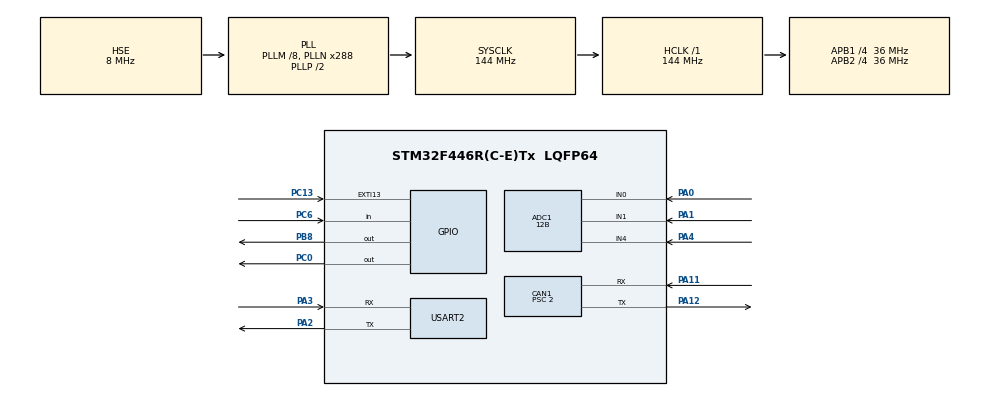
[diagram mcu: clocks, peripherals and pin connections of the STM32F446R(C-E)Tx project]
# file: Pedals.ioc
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ADC1.Channel-0\#ChannelRegularConversion=ADC_CHANNEL_0
ADC1.Channel-1\#ChannelRegularConversion=ADC_CHANNEL_1
ADC1.Channel-2\#ChannelRegularConversion=ADC_CHANNEL_4
ADC1.ClockPrescaler=ADC_CLOCK_SYNC_PCLK_DIV2
ADC1.ContinuousConvMode=ENABLE
ADC1.DMAContinuousRequests=ENABLE
ADC1.DataAlign=ADC_DATAALIGN_RIGHT
ADC1.DiscontinuousConvMode=DISABLE
ADC1.EOCSelection=ADC_EOC_SINGLE_CONV
ADC1.EnableAnalogWatchDog=false
ADC1.ExternalTrigConv=ADC_SOFTWARE_START
ADC1.ExternalTrigConvEdge=ADC_EXTERNALTRIGCONVEDGE_NONE
ADC1.InjNumberOfConversion=0
ADC1.NbrOfConversion=3
ADC1.NbrOfConversionFlag=1
ADC1.Rank-0\#ChannelRegularConversion=1
ADC1.Rank-1\#ChannelRegularConversion=2
ADC1.Rank-2\#ChannelRegularConversion=3
ADC1.Resolution=ADC_RESOLUTION_12B
ADC1.SamplingTime-0\#ChannelRegularConversion=ADC_SAMPLETIME_480CYCLES
ADC1.SamplingTime-1\#ChannelRegularConversion=ADC_SAMPLETIME_480CYCLES
ADC1.SamplingTime-2\#ChannelRegularConversion=ADC_SAMPLETIME_480CYCLES
ADC1.ScanConvMode=ENABLE
ADC1.master=1
CAN1.AWUM=ENABLE
CAN1.AutoWakeUp=ENABLE
CAN1.BS1=CAN_BS1_12TQ
CAN1.BS2=CAN_BS2_5TQ
CAN1.CalculateTimeBit=1000
CAN1.CalculateTimeQuantum=55.55555555555556
CAN1.Prescaler=2
CAN1.TimeSeg1=CAN_BS1_12TQ
CAN1.TimeSeg2=CAN_BS2_5TQ
Dma.ADC1.0.Direction=DMA_PERIPH_TO_MEMORY
Dma.ADC1.0.FIFOMode=DMA_FIFOMODE_DISABLE
Dma.ADC1.0.Instance=DMA2_Stream0
Dma.ADC1.0.MemDataAlignment=DMA_MDATAALIGN_WORD
Dma.ADC1.0.MemInc=DMA_MINC_ENABLE
Dma.ADC1.0.Mode=DMA_CIRCULAR
Dma.ADC1.0.PeriphDataAlignment=DMA_PDATAALIGN_WORD
Dma.ADC1.0.PeriphInc=DMA_PINC_DISABLE
Dma.ADC1.0.Priority=DMA_PRIORITY_LOW
Dma.Request0=ADC1
Mcu.Family=STM32F4
Mcu.Name=STM32F446R(C-E)Tx
Mcu.Package=LQFP64
NVIC.ADC_IRQn=true\:0\:0\:false\:true\:true\:1\:true
NVIC.CAN1_RX0_IRQn=true\:0\:0\:false\:true\:true\:3\:true
NVIC.CAN1_RX1_IRQn=true\:0\:0\:false\:true\:true\:4\:true
NVIC.CAN1_SCE_IRQn=true\:0\:0\:false\:true\:true\:5\:true
NVIC.CAN1_TX_IRQn=true\:0\:0\:false\:true\:true\:2\:true
NVIC.DMA2_Stream0_IRQn=true\:0\:0\:false\:false\:true\:false
NVIC.EXTI15_10_IRQn=true\:0\:0\:false\:false\:true\:true
NVIC.PriorityGroup=NVIC_PRIORITYGROUP_4
NVIC.TIM3_IRQn=true\:0\:0\:false\:true\:true\:6\:true
PA0-WKUP.Signal=ADCx_IN0
PA1.Signal=ADCx_IN1
PA11.GPIO_PuPd=GPIO_PULLUP
PA11.Mode=Master
PA11.Signal=CAN1_RX
PA12.Mode=Master
PA12.Signal=CAN1_TX
PA2.Mode=Asynchronous
PA2.Signal=USART2_TX
PA3.Mode=Asynchronous
PA3.Signal=USART2_RX
PA4.Signal=ADCx_IN4
PB8.Signal=GPIO_Output
PC0.Signal=GPIO_Output
PC13.Signal=GPXTI13
PC6.GPIO_PuPd=GPIO_PULLUP
PC6.Signal=GPIO_Input
PH0-OSC_IN.Mode=HSE-External-Clock-Source
PH0-OSC_IN.Signal=RCC_OSC_IN
PH1-OSC_OUT.Mode=HSE-External-Clock-Source
PH1-OSC_OUT.Signal=RCC_OSC_OUT
ProjectManager.HeapSize=0x200
ProjectManager.StackSize=0x400
ProjectManager.TargetToolchain=SW4STM32
RCC.AHBFreq_Value=144000000
RCC.APB1CLKDivider=RCC_HCLK_DIV4
RCC.APB1Freq_Value=36000000
RCC.APB1TimFreq_Value=72000000
RCC.APB2CLKDivider=RCC_HCLK_DIV4
RCC.APB2Freq_Value=36000000
RCC.APB2TimFreq_Value=72000000
RCC.CortexFreq_Value=144000000
RCC.HCLKFreq_Value=144000000
RCC.HSE_VALUE=8000000
RCC.PLLM=8
RCC.PLLN=288
RCC.PLLSourceVirtual=RCC_PLLSOURCE_HSE
RCC.SYSCLKFreq_VALUE=144000000
RCC.SYSCLKSource=RCC_SYSCLKSOURCE_PLLCLK
RCC.USBFreq_Value=144000000
RCC.VCOOutputFreq_Value=288000000
SH.ADCx_IN0.0=ADC1_IN0,IN0
SH.ADCx_IN1.0=ADC1_IN1,IN1
SH.ADCx_IN4.0=ADC1_IN4,IN4
TIM3.Period=1000
TIM3.Prescaler=42666
USART2.VirtualMode=VM_ASYNC
VP_TIM3_VS_ClockSourceINT.Mode=Internal
board=Pedals

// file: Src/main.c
/**
  ******************************************************************************
  * @file           : main.c
  * @brief          : Main program body
  ******************************************************************************
  ** This notice applies to any and all portions of this file
  * that are not between comment pairs USER CODE BEGIN and
  * USER CODE END. Other portions of this file, whether
  * inserted by the user or by software development tools
  * are owned by their respective copyright owners.
  *
  * COPYRIGHT(c) 2018 STMicroelectronics
  *
  * Redistribution and use in source and binary forms, with or without modification,
  * are permitted provided that the following conditions are met:
  *   1. Redistributions of source code must retain the above copyright notice,
  *      this list of conditions and the following disclaimer.
  *   2. Redistributions in binary form must reproduce the above copyright notice,
  *      this list of conditions and the following disclaimer in the documentation
  *      and/or other materials provided with the distribution.
  *   3. Neither the name of STMicroelectronics nor the names of its contributors
  *      may be used to endorse or promote products derived from this software
  *      without specific prior written permission.
  *
  * THIS SOFTWARE IS PROVIDED BY THE COPYRIGHT HOLDERS AND CONTRIBUTORS "AS IS"
  * AND ANY EXPRESS OR IMPLIED WARRANTIES, INCLUDING, BUT NOT LIMITED TO, THE
  * IMPLIED WARRANTIES OF MERCHANTABILITY AND FITNESS FOR A PARTICULAR PURPOSE ARE
  * DISCLAIMED. IN NO EVENT SHALL THE COPYRIGHT HOLDER OR CONTRIBUTORS BE LIABLE
  * FOR ANY DIRECT, INDIRECT, INCIDENTAL, SPECIAL, EXEMPLARY, OR CONSEQUENTIAL
  * DAMAGES (INCLUDING, BUT NOT LIMITED TO, PROCUREMENT OF SUBSTITUTE GOODS OR
  * SERVICES; LOSS OF USE, DATA, OR PROFITS; OR BUSINESS INTERRUPTION) HOWEVER
  * CAUSED AND ON ANY THEORY OF LIABILITY, WHETHER IN CONTRACT, STRICT LIABILITY,
  * OR TORT (INCLUDING NEGLIGENCE OR OTHERWISE) ARISING IN ANY WAY OUT OF THE USE
  * OF THIS SOFTWARE, EVEN IF ADVISED OF THE POSSIBILITY OF SUCH DAMAGE.
  *
  ******************************************************************************
  */
#include "main.h"
#include "stm32f4xx_hal.h"

/* USER CODE BEGIN Includes */
#include "stm32f4xx_hal_gpio.h"
#include "stm32f4xx_it.h"
#include <string.h>
#include <math.h>
#include <stdlib.h>
#include <inttypes.h>
/* USER CODE END Includes */

ADC_HandleTypeDef hadc1;
DMA_HandleTypeDef hdma_adc1;

CAN_HandleTypeDef hcan1;

TIM_HandleTypeDef htim3;

UART_HandleTypeDef huart2;

/* USER CODE BEGIN PV */
/* Private variables ---------------------------------------------------------*/
int val0_100, val1_100, val2_100, Error, SCS, SCS1, SCS_Send, SCS_Send_real, Time1, Time2, fake_i, check;
int fake_min0 = 0, fake_max0 = 6000, fake_min1 = 6000, fake_max1 = 0;
uint32_t fake1[5];
uint32_t fake2[5];

uint32_t valMax0, valMin0, valMax1, valMin1, valMax2, valMin2, val0rang, val1rang, val2rang;
uint32_t ADC_buffer[3], val[3];

static TIM_HandleTypeDef s_TimerInstance = {.Instance = TIM3};

CAN_RxHeaderTypeDef RxHeader;
CAN_FilterTypeDef sFilter;
HAL_CAN_StateTypeDef state;
uint32_t full;

uint8_t CheckControl[4];

char val0[256];
char value_Error[256];
char txt[100];

uint8_t RxData[8];
/* USER CODE END PV */

void SystemClock_Config(void);
static void MX_GPIO_Init(void);
static void MX_DMA_Init(void);
static void MX_USART2_UART_Init(void);
static void MX_ADC1_Init(void);
static void MX_TIM3_Init(void);
static void MX_CAN1_Init(void);
static void MX_NVIC_Init(void);

/* USER CODE BEGIN PFP */
/* Private function prototypes -----------------------------------------------*/

/* USER CODE END PFP */

/* USER CODE BEGIN 0 */
void HAL_ADC_ConvCpltCallback(ADC_HandleTypeDef* hadc)
{
	for (int i = 0; i < 3; i++)
	{
		val[i] = ADC_buffer[i];
	}
}

//CALIBRATION FUNCTION, ONLY SHOWS THE NEW MAX & MIN VALUES
//PRESS AND RELEASE COMPLEATELY THE ACCELERATOR
void print_Max_Min(){
	if(fake_min0 < val[0]){
		fake_min0 = val[0];
	}
	if(fake_max0 > val[0]){
		fake_max0 = val[0];
	}
	if(fake_min1 > val[1]){
		fake_min1 = val[1];
	}
	if(fake_max1 < val[1]){
		fake_max1 = val[1];
	}
	sprintf(txt, "valMIN0 = %d valMAX0 = %d \t valMIN1 = %d valMAX1 = %d val0_100 = %d val1_100 = %d \r\n", fake_min0, fake_max0, fake_min1, fake_max1, val0_100, val1_100);
	HAL_UART_Transmit(&huart2, (uint8_t*)txt, strlen(txt), 10);
}
/* USER CODE END 0 */

int main(void)
{
  /* USER CODE BEGIN 1 */
	valMin0 = 3417;
	valMax0 = 3294;	//released
	val0rang = abs(valMax0 - valMin0);
	valMin1 = 2353;
	valMax1 = 2465; //released
	val1rang = abs(valMax1 - valMin1);
	check = 0;
	fake_i = 0;

	val[1] = 0;

	Error = 0;

	CheckControl[0] = 0;
	CheckControl[1] = 0;
	CheckControl[2] = 0;
	CheckControl[3] = 0;

  /* USER CODE END 1 */

  /* MCU Configuration----------------------------------------------------------*/

  /* Reset of all peripherals, Initializes the Flash interface and the Systick. */
  HAL_Init();

  /* Configure the system clock */
  SystemClock_Config();

  /* Initialize all configured peripherals */
  MX_GPIO_Init();
  MX_DMA_Init();
  MX_USART2_UART_Init();
  MX_ADC1_Init();
  MX_TIM3_Init();
  MX_CAN1_Init();

  /* Initialize interrupts */
  MX_NVIC_Init();
  /* USER CODE BEGIN 2 */

  HAL_TIM_Base_Start(&htim3);

  sFilter.FilterMode = CAN_FILTERMODE_IDMASK;
  sFilter.FilterIdLow = 0;
  sFilter.FilterIdHigh = 0;
  sFilter.FilterMaskIdHigh = 0;
  sFilter.FilterMaskIdLow = 0;
  sFilter.FilterFIFOAssignment = CAN_FILTER_FIFO0;
  sFilter.FilterBank = 0;
  sFilter.FilterScale  = CAN_FILTERSCALE_16BIT;
  sFilter.FilterActivation = ENABLE;
  HAL_CAN_ConfigFilter(&hcan1, &sFilter);

  HAL_CAN_Start(&hcan1);

  uint8_t TxData[8];

  HAL_CAN_ActivateNotification(&hcan1, CAN1_RX0_IRQn);
  HAL_CAN_ActivateNotification(&hcan1, CAN1_RX1_IRQn);

  /* USER CODE END 2 */

  /* Infinite loop */
  while (1)
  {

  /* USER CODE BEGIN 3 */
	  uint8_t CanSendMSG[8];
	  uint8_t RxData[8];
	  SCS = 0;
	  SCS_Send = 0;
	  SCS_Send_real = 0;

	  ///CALCULATING APPS% GAIN///
	  HAL_ADC_Start_DMA(&hadc1, ADC_buffer, 3);

	  int pc6;
	  pc6 = HAL_GPIO_ReadPin(GPIOC, GPIO_PIN_6);
	  if (pc6 != GPIO_PIN_SET && pc6 != GPIO_PIN_RESET){
		  SCS = 1;
	  }

	  val0_100 = 0;
	  val1_100 = 0;
	  fake1[fake_i] = (int)100-(abs(val[0] - valMin0)*100/(val0rang)); //val0_100 --> APPS1
	  fake2[fake_i] = (int)100-(abs(val[1] - valMin1)*100/(val1rang)); //val1_100 --> APPS2
	  for (int i = 0; i <= 4; i++){
		  val0_100 = val0_100 + fake1[i];
		  val1_100 = val1_100 + fake1[i];
	  }
	  val0_100 = val0_100 / 5;
	  val1_100 = val1_100 / 5;
	  val0_100 = 100 - val0_100;
	  val1_100 = 100 - val1_100;

	  if (fake_i >= 4){
		  fake_i = 0;
	  }
	  else{
		  fake_i = fake_i + 1;
	  }

	  ///NO POTENTIOMETER CONNECTED///
	  if(val[0] >= 4096){
		  SCS = 1;
	  }
	  if(val[1] >= 4096){
		  SCS = 1;
	  }
	  if(val[0] <= 0){
		  SCS = 1;
	  }
	  if(val[1] <= 0){
		  SCS = 1;
	  }
	  if(val[0] <= 100){
		  SCS = 1;
	  }
	  if(val[1] <= 100){
		  SCS = 1;
	  }

	  ///LED STRIP BRAKE LIGHT CODE///
	  if (pc6 == GPIO_PIN_SET){
		  HAL_GPIO_WritePin(GPIOC, GPIO_PIN_0, GPIO_PIN_SET);
	  }
	  else if (pc6 == GPIO_PIN_RESET){
		  HAL_GPIO_WritePin(GPIOC, GPIO_PIN_0, GPIO_PIN_RESET);
	  }

	  ///SAFETY RANGES CODE///
	  if (val0_100 >= 100){
		  val0_100 = 100;
	  }
	  if (val0_100 <= 5){
		  val0_100 = 0;
	  }

	  if (val1_100 >= 100){
		  val1_100 = 100;
	  }
	  if (val1_100 <= 5){
		  val1_100 = 0;
	  }

	  ///ERRORS CONTROL CODE///
	  if(abs(val0_100 - val1_100) >= 10){
		  if(__HAL_TIM_GET_COUNTER(&s_TimerInstance) - Time1 > 100){
			  SCS1 = 1;
		  }
	  }
	  else{
		  Time1 = __HAL_TIM_GET_COUNTER(&s_TimerInstance);
		  SCS1 = 0;
	  }

	  if (SCS != 0 || SCS1 != 0){
		  val0_100 = 0;
		  val1_100 = 0;
		  val2_100 = GPIO_PIN_RESET;
		  SCS_Send = 1;
	  }

	  if (check != 1){
		  CanSendMSG[0] = 0x01;
		  CanSendMSG[1] = val0_100;
		  CanSendMSG[2] = val1_100;
		  CanSendMSG[3] = 0;
		  CanSendMSG[4] = 0;
		  CanSendMSG[5] = 0;
		  CanSendMSG[6] = SCS_Send;
		  CanSendMSG[7] = 0;
		  CAN_Send(0xB0, CanSendMSG, 8);
	  }
	  HAL_Delay(20);

	  CanSendMSG[0] = 0x02;
	  CanSendMSG[1] = pc6;
	  CanSendMSG[2] = 0;
	  CanSendMSG[3] = 0;
	  CanSendMSG[4] = 0;
	  CanSendMSG[5] = 0;
	  CanSendMSG[6] = SCS_Send;
	  CanSendMSG[7] = 0;
	  CAN_Send(0xB0, CanSendMSG, 8);

	  HAL_Delay(20);

	  print_Max_Min();
	  //}

	  ///DEBUG CODE when in release to change with sending in CANbus///
	  //if (SCS_Send != 0){
/*
	  sprintf(val0, "percent APPS1: %d percent Apps2: %d apps1 %d apps2 %d\r\n", val0_100, val1_100, val[0], val[1]);  //use "%lu" for long, "%d" for int
	  HAL_UART_Transmit(&huart2, (uint8_t*)val0, strlen(val0), 10);

	  sprintf(value_Error, "SCS: %d  BRK: %d\r\n", SCS_Send, val2_100);
	  HAL_UART_Transmit(&huart2, (uint8_t*)value_Error, strlen(value_Error), 10);
	  //}
	  HAL_Delay(100);*/
	  /*char msg[256];
	  	  for(int i = 0; i < 4; i++){
	  		  sprintf(msg, "msg: %d /r/n", CheckControl[i]);
	  		  HAL_UART_Transmit(&huart2, (uint8_t*)msg, strlen(msg), 10);
	  	  }*/

  }

  /* USER CODE END 3 */

}

void SystemClock_Config(void)
{

  RCC_OscInitTypeDef RCC_OscInitStruct;
  RCC_ClkInitTypeDef RCC_ClkInitStruct;

    /**Configure the main internal regulator output voltage
    */
  __HAL_RCC_PWR_CLK_ENABLE();

  __HAL_PWR_VOLTAGESCALING_CONFIG(PWR_REGULATOR_VOLTAGE_SCALE1);

    /**Initializes the CPU, AHB and APB busses clocks
    */
  RCC_OscInitStruct.OscillatorType = RCC_OSCILLATORTYPE_HSE;
  RCC_OscInitStruct.HSEState = RCC_HSE_BYPASS;
  RCC_OscInitStruct.PLL.PLLState = RCC_PLL_ON;
  RCC_OscInitStruct.PLL.PLLSource = RCC_PLLSOURCE_HSE;
  RCC_OscInitStruct.PLL.PLLM = 8;
  RCC_OscInitStruct.PLL.PLLN = 288;
  RCC_OscInitStruct.PLL.PLLP = RCC_PLLP_DIV2;
  RCC_OscInitStruct.PLL.PLLQ = 2;
  RCC_OscInitStruct.PLL.PLLR = 2;
  if (HAL_RCC_OscConfig(&RCC_OscInitStruct) != HAL_OK)
  {
    _Error_Handler(__FILE__, __LINE__);
  }

    /**Initializes the CPU, AHB and APB busses clocks
    */
  RCC_ClkInitStruct.ClockType = RCC_CLOCKTYPE_HCLK|RCC_CLOCKTYPE_SYSCLK
                              |RCC_CLOCKTYPE_PCLK1|RCC_CLOCKTYPE_PCLK2;
  RCC_ClkInitStruct.SYSCLKSource = RCC_SYSCLKSOURCE_PLLCLK;
  RCC_ClkInitStruct.AHBCLKDivider = RCC_SYSCLK_DIV1;
  RCC_ClkInitStruct.APB1CLKDivider = RCC_HCLK_DIV4;
  RCC_ClkInitStruct.APB2CLKDivider = RCC_HCLK_DIV4;

  if (HAL_RCC_ClockConfig(&RCC_ClkInitStruct, FLASH_LATENCY_4) != HAL_OK)
  {
    _Error_Handler(__FILE__, __LINE__);
  }

    /**Configure the Systick interrupt time
    */
  HAL_SYSTICK_Config(HAL_RCC_GetHCLKFreq()/1000);

    /**Configure the Systick
    */
  HAL_SYSTICK_CLKSourceConfig(SYSTICK_CLKSOURCE_HCLK);

  /* SysTick_IRQn interrupt configuration */
  HAL_NVIC_SetPriority(SysTick_IRQn, 0, 0);
}

/**
  * @brief NVIC Configuration.
  * @retval None
  */
static void MX_NVIC_Init(void)
{
  /* ADC_IRQn interrupt configuration */
  HAL_NVIC_SetPriority(ADC_IRQn, 0, 0);
  HAL_NVIC_EnableIRQ(ADC_IRQn);
  /* CAN1_TX_IRQn interrupt configuration */
  HAL_NVIC_SetPriority(CAN1_TX_IRQn, 0, 0);
  HAL_NVIC_EnableIRQ(CAN1_TX_IRQn);
  /* CAN1_RX0_IRQn interrupt configuration */
  HAL_NVIC_SetPriority(CAN1_RX0_IRQn, 0, 0);
  HAL_NVIC_EnableIRQ(CAN1_RX0_IRQn);
  /* CAN1_RX1_IRQn interrupt configuration */
  HAL_NVIC_SetPriority(CAN1_RX1_IRQn, 0, 0);
  HAL_NVIC_EnableIRQ(CAN1_RX1_IRQn);
  /* CAN1_SCE_IRQn interrupt configuration */
  HAL_NVIC_SetPriority(CAN1_SCE_IRQn, 0, 0);
  HAL_NVIC_EnableIRQ(CAN1_SCE_IRQn);
  /* TIM3_IRQn interrupt configuration */
  HAL_NVIC_SetPriority(TIM3_IRQn, 0, 0);
  HAL_NVIC_EnableIRQ(TIM3_IRQn);
}

/* ADC1 init function */
static void MX_ADC1_Init(void)
{

  ADC_ChannelConfTypeDef sConfig;

    /**Configure the global features of the ADC (Clock, Resolution, Data Alignment and number of conversion)
    */
  hadc1.Instance = ADC1;
  hadc1.Init.ClockPrescaler = ADC_CLOCK_SYNC_PCLK_DIV2;
  hadc1.Init.Resolution = ADC_RESOLUTION_12B;
  hadc1.Init.ScanConvMode = ENABLE;
  hadc1.Init.ContinuousConvMode = ENABLE;
  hadc1.Init.DiscontinuousConvMode = DISABLE;
  hadc1.Init.ExternalTrigConvEdge = ADC_EXTERNALTRIGCONVEDGE_NONE;
  hadc1.Init.ExternalTrigConv = ADC_SOFTWARE_START;
  hadc1.Init.DataAlign = ADC_DATAALIGN_RIGHT;
  hadc1.Init.NbrOfConversion = 3;
  hadc1.Init.DMAContinuousRequests = ENABLE;
  hadc1.Init.EOCSelection = ADC_EOC_SINGLE_CONV;
  if (HAL_ADC_Init(&hadc1) != HAL_OK)
  {
    _Error_Handler(__FILE__, __LINE__);
  }

    /**Configure for the selected ADC regular channel its corresponding rank in the sequencer and its sample time.
    */
  sConfig.Channel = ADC_CHANNEL_0;
  sConfig.Rank = 1;
  sConfig.SamplingTime = ADC_SAMPLETIME_480CYCLES;
  if (HAL_ADC_ConfigChannel(&hadc1, &sConfig) != HAL_OK)
  {
    _Error_Handler(__FILE__, __LINE__);
  }

    /**Configure for the selected ADC regular channel its corresponding rank in the sequencer and its sample time.
    */
  sConfig.Channel = ADC_CHANNEL_1;
  sConfig.Rank = 2;
  if (HAL_ADC_ConfigChannel(&hadc1, &sConfig) != HAL_OK)
  {
    _Error_Handler(__FILE__, __LINE__);
  }

    /**Configure for the selected ADC regular channel its corresponding rank in the sequencer and its sample time.
    */
  sConfig.Channel = ADC_CHANNEL_4;
  sConfig.Rank = 3;
  if (HAL_ADC_ConfigChannel(&hadc1, &sConfig) != HAL_OK)
  {
    _Error_Handler(__FILE__, __LINE__);
  }

}

/* CAN1 init function */
static void MX_CAN1_Init(void)
{

  hcan1.Instance = CAN1;
  hcan1.Init.Prescaler = 2;
  hcan1.Init.Mode = CAN_MODE_NORMAL;
  hcan1.Init.SyncJumpWidth = CAN_SJW_1TQ;
  hcan1.Init.TimeSeg1 = CAN_BS1_12TQ;
  hcan1.Init.TimeSeg2 = CAN_BS2_5TQ;
  hcan1.Init.TimeTriggeredMode = DISABLE;
  hcan1.Init.AutoBusOff = DISABLE;
  hcan1.Init.AutoWakeUp = ENABLE;
  hcan1.Init.AutoRetransmission = DISABLE;
  hcan1.Init.ReceiveFifoLocked = DISABLE;
  hcan1.Init.TransmitFifoPriority = DISABLE;
  if (HAL_CAN_Init(&hcan1) != HAL_OK)
  {
    _Error_Handler(__FILE__, __LINE__);
  }

}

/* TIM3 init function */
static void MX_TIM3_Init(void)
{

  TIM_ClockConfigTypeDef sClockSourceConfig;
  TIM_MasterConfigTypeDef sMasterConfig;

  htim3.Instance = TIM3;
  htim3.Init.Prescaler = 42666;
  htim3.Init.CounterMode = TIM_COUNTERMODE_UP;
  htim3.Init.Period = 1000;
  htim3.Init.ClockDivision = TIM_CLOCKDIVISION_DIV1;
  if (HAL_TIM_Base_Init(&htim3) != HAL_OK)
  {
    _Error_Handler(__FILE__, __LINE__);
  }

  sClockSourceConfig.ClockSource = TIM_CLOCKSOURCE_INTERNAL;
  if (HAL_TIM_ConfigClockSource(&htim3, &sClockSourceConfig) != HAL_OK)
  {
    _Error_Handler(__FILE__, __LINE__);
  }

  sMasterConfig.MasterOutputTrigger = TIM_TRGO_RESET;
  sMasterConfig.MasterSlaveMode = TIM_MASTERSLAVEMODE_DISABLE;
  if (HAL_TIMEx_MasterConfigSynchronization(&htim3, &sMasterConfig) != HAL_OK)
  {
    _Error_Handler(__FILE__, __LINE__);
  }

}

/* USART2 init function */
static void MX_USART2_UART_Init(void)
{

  huart2.Instance = USART2;
  huart2.Init.BaudRate = 115200;
  huart2.Init.WordLength = UART_WORDLENGTH_8B;
  huart2.Init.StopBits = UART_STOPBITS_1;
  huart2.Init.Parity = UART_PARITY_NONE;
  huart2.Init.Mode = UART_MODE_TX_RX;
  huart2.Init.HwFlowCtl = UART_HWCONTROL_NONE;
  huart2.Init.OverSampling = UART_OVERSAMPLING_16;
  if (HAL_UART_Init(&huart2) != HAL_OK)
  {
    _Error_Handler(__FILE__, __LINE__);
  }

}

static void MX_DMA_Init(void)
{
  /* DMA controller clock enable */
  __HAL_RCC_DMA2_CLK_ENABLE();

  /* DMA interrupt init */
  /* DMA2_Stream0_IRQn interrupt configuration */
  HAL_NVIC_SetPriority(DMA2_Stream0_IRQn, 0, 0);
  HAL_NVIC_EnableIRQ(DMA2_Stream0_IRQn);

}

/** Configure pins as
        * Analog
        * Input
        * Output
        * EVENT_OUT
        * EXTI
*/
static void MX_GPIO_Init(void)
{

  GPIO_InitTypeDef GPIO_InitStruct;

  /* GPIO Ports Clock Enable */
  __HAL_RCC_GPIOC_CLK_ENABLE();
  __HAL_RCC_GPIOH_CLK_ENABLE();
  __HAL_RCC_GPIOA_CLK_ENABLE();
  __HAL_RCC_GPIOB_CLK_ENABLE();

  /*Configure GPIO pin Output Level */
  HAL_GPIO_WritePin(GPIOC, GPIO_PIN_0, GPIO_PIN_RESET);

  /*Configure GPIO pin Output Level */
  HAL_GPIO_WritePin(GPIOB, GPIO_PIN_8, GPIO_PIN_RESET);

  /*Configure GPIO pin : PC13 */
  GPIO_InitStruct.Pin = GPIO_PIN_13;
  GPIO_InitStruct.Mode = GPIO_MODE_IT_RISING;
  GPIO_InitStruct.Pull = GPIO_NOPULL;
  HAL_GPIO_Init(GPIOC, &GPIO_InitStruct);

  /*Configure GPIO pin : PC0 */
  GPIO_InitStruct.Pin = GPIO_PIN_0;
  GPIO_InitStruct.Mode = GPIO_MODE_OUTPUT_PP;
  GPIO_InitStruct.Pull = GPIO_NOPULL;
  GPIO_InitStruct.Speed = GPIO_SPEED_FREQ_LOW;
  HAL_GPIO_Init(GPIOC, &GPIO_InitStruct);

  /*Configure GPIO pin : PC6 */
  GPIO_InitStruct.Pin = GPIO_PIN_6;
  GPIO_InitStruct.Mode = GPIO_MODE_INPUT;
  GPIO_InitStruct.Pull = GPIO_PULLUP;
  HAL_GPIO_Init(GPIOC, &GPIO_InitStruct);

  /*Configure GPIO pin : PB8 */
  GPIO_InitStruct.Pin = GPIO_PIN_8;
  GPIO_InitStruct.Mode = GPIO_MODE_OUTPUT_PP;
  GPIO_InitStruct.Pull = GPIO_NOPULL;
  GPIO_InitStruct.Speed = GPIO_SPEED_FREQ_LOW;
  HAL_GPIO_Init(GPIOB, &GPIO_InitStruct);

  /* EXTI interrupt init*/
  HAL_NVIC_SetPriority(EXTI15_10_IRQn, 0, 0);
  HAL_NVIC_EnableIRQ(EXTI15_10_IRQn);

}

/* USER CODE BEGIN 4 */
int CAN_Send(int id, uint8_t dataTx[], int size){

	uint32_t mailbox;
	uint8_t flag = 0;

	CAN_TxHeaderTypeDef TxHeader;
	TxHeader.StdId = id;
	TxHeader.IDE = CAN_ID_STD;
	TxHeader.RTR = CAN_RTR_DATA;
	TxHeader.DLC = size;
	TxHeader.TransmitGlobalTime = DISABLE;

	if (HAL_CAN_GetTxMailboxesFreeLevel(&hcan1) != 0 && HAL_CAN_IsTxMessagePending(&hcan1, CAN_TX_MAILBOX0) == 0){
		HAL_CAN_AddTxMessage(&hcan1, &TxHeader, dataTx, &mailbox);
		flag = 1;
	}

	return flag;
}

int CAN_Receive(uint8_t *DataRx, int size){

	if (HAL_CAN_GetRxFifoFillLevel(&hcan1, CAN_RX_FIFO0) != 0){
		HAL_CAN_GetRxMessage(&hcan1, CAN_RX_FIFO0, &RxHeader, DataRx);
	}

	int id = RxHeader.StdId;

	return id;
}

void HAL_CAN_RxFifo0FullCallback(CAN_HandleTypeDef *hcan){
	///CALIBRATION CODE///
		  int idsave = CAN_Receive(RxData, 8);
		  uint8_t CanSendMSG[8];

		  if (idsave == 0xBB){
			//  sprintf(val0, "APPS1: %d \r\n", idsave);  //use "%lu" for long, "%d" for int
			  //		  HAL_UART_Transmit(&huart2, (uint8_t*)val0, strlen(val0), 10);
			  if ((RxData[0] == 0) && (RxData[1] == 0)){
				  valMin0 = val[0];
				  valMin1 = val[1];
				  //CheckControl[0] = 1;
				  CanSendMSG[0] = 0;
				  CanSendMSG[1] = 0;
				  CanSendMSG[2] = 0;
				  CanSendMSG[3] = 0;
				  CanSendMSG[4] = 0;
				  CanSendMSG[5] = 0;
				  CanSendMSG[6] = 0;
				  CanSendMSG[7] = 0;
				  CAN_Send(0xBC, CanSendMSG, 8);
				  check = 1;
			  }
			  if ((RxData[0] == 0) && (RxData[1] == 1)){
				  valMax0 = val[0];
				  valMax1 = val[1];
				  //CheckControl[1] = 1;
				  CanSendMSG[0] = 0;
				  CanSendMSG[1] = 1;
				  CanSendMSG[2] = 0;
				  CanSendMSG[3] = 0;
				  CanSendMSG[4] = 0;
				  CanSendMSG[5] = 0;
				  CanSendMSG[6] = 0;
				  CanSendMSG[7] = 0;
				  CAN_Send(0xBC, CanSendMSG, 8);
				  check = 0;
			  }
			  val0rang = abs(valMax0 - valMin0);
			  val1rang = abs(valMax1 - valMin1);
		  }
}
/* USER CODE END 4 */

void _Error_Handler(char *file, int line)
{
  while(1)
  {
  }
}

/************************ (C) COPYRIGHT STMicroelectronics *****END OF FILE****/
